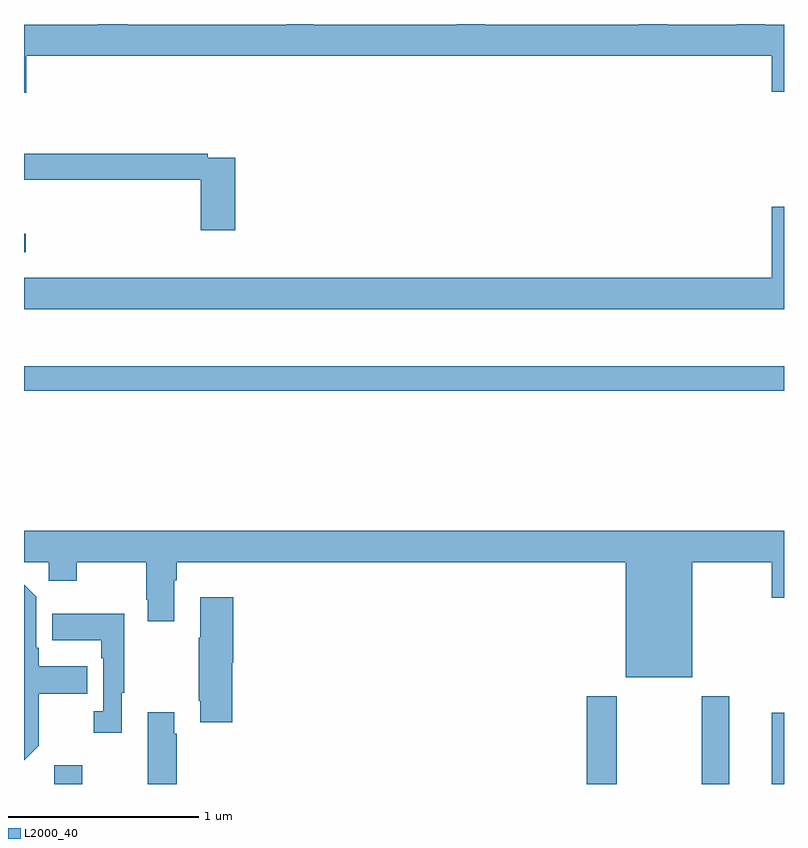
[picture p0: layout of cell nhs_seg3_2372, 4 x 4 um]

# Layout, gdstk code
import gdstk
lib = gdstk.Library(unit=1e-6, precision=1e-09)
def R(c, l, rs):  # rectangles x0, y0, x1, y1
    for r in rs: c.add(gdstk.rectangle(r[:2], r[2:], *l))
def P(c, l, *ps):  # polygons
    for p in ps: c.add(gdstk.Polygon(p, *l))
L2000_40 = (2000, 40)

nhs_seg3_2372 = lib.new_cell('nhs_seg3_2372')
R(nhs_seg3_2372, L2000_40, [(233.159,714.4,233.307,714.499), (235.961,714.4,236.121,714.862), (236.566,714.4,236.713,714.862), (236.936,714.4,237,714.775), (233,716.47,237,716.599), (233,717.2,233.008,717.297)])
P(nhs_seg3_2372, L2000_40, [(233.012,718.232),(236.936,718.232),(236.936,718.044),(237,718.044),(237,718.396),(236.899,718.396),(236.899,718.4),(236.752,718.4),(236.752,718.396),(236.385,718.396),(236.385,718.4),(236.238,718.4),(236.238,718.396),(235.425,718.396),(235.425,718.4),(235.277,718.4),(235.277,718.396),(234.523,718.396),(234.523,718.4),(234.383,718.4),(234.383,718.396),(233.547,718.396),(233.547,718.4),(233.387,718.4),(233.387,718.396),(233,718.396),(233,718.038),(233.012,718.038)],
  [(234.113,717.696),(233.966,717.696),(233.966,717.716),(233,717.716),(233,717.58),(233.93,717.58),(233.93,717.315),(234.113,717.315)],
  [(237,717.439),(236.936,717.439),(236.936,717.064),(233,717.064),(233,716.9),(237,716.9)],
  [(236.518,715.568),(236.936,715.568),(236.936,715.38),(237,715.38),(237,715.732),(233,715.732),(233,715.568),(233.13,715.568),(233.13,715.469),(233.277,715.469),(233.277,715.568),(233.644,715.568),(233.644,715.369),(233.651,715.369),(233.651,715.257),(233.791,715.257),(233.791,715.472),(233.804,715.472),(233.804,715.568),(236.168,715.568),(236.168,714.962),(236.518,714.962)],
  [(233.077,714.601),(233.077,714.874),(233.333,714.874),(233.333,715.021),(233.077,715.021),(233.077,715.117),(233.064,715.117),(233.064,715.386),(233,715.45),(233,714.524)],
  [(234.095,715.038),(234.1,715.038),(234.1,715.384),(233.927,715.384),(233.927,715.169),(233.92,715.169),(233.92,714.838),(233.927,714.838),(233.927,714.726),(234.095,714.726)],
  [(233.515,714.881),(233.527,714.881),(233.527,715.297),(233.149,715.297),(233.149,715.157),(233.406,715.157),(233.406,715.061),(233.418,715.061),(233.418,714.782),(233.367,714.782),(233.367,714.669),(233.515,714.669)],
  [(233.804,714.665),(233.791,714.665),(233.791,714.778),(233.651,714.778),(233.651,714.4),(233.804,714.4)])

lib.write_gds('nhs_seg3_2372.gds')
